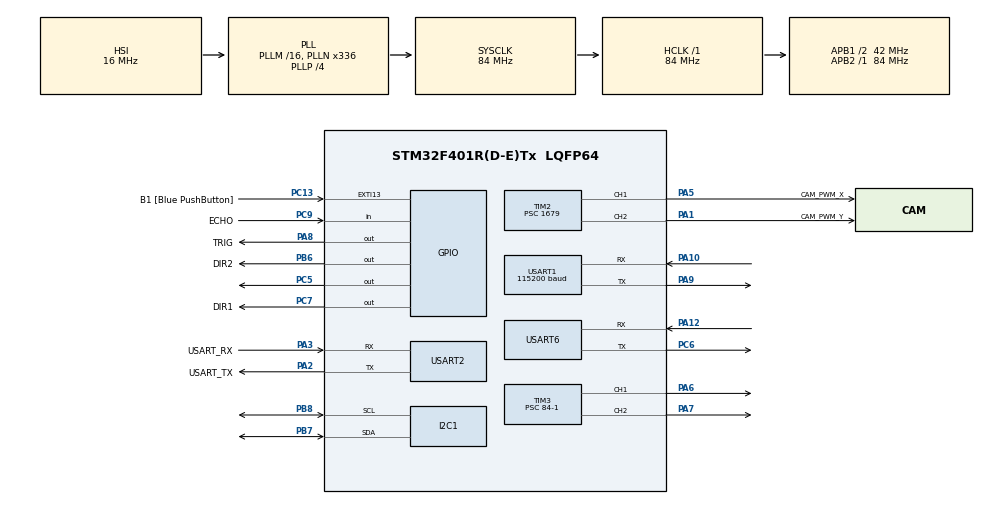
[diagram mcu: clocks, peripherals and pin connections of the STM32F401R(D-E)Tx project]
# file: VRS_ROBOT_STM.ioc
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Dma.Request0=USART2_RX
Dma.Request1=USART1_RX
Dma.Request2=USART6_RX
Dma.USART1_RX.1.Direction=DMA_PERIPH_TO_MEMORY
Dma.USART1_RX.1.FIFOMode=DMA_FIFOMODE_DISABLE
Dma.USART1_RX.1.Instance=DMA2_Stream2
Dma.USART1_RX.1.MemDataAlignment=DMA_MDATAALIGN_BYTE
Dma.USART1_RX.1.MemInc=DMA_MINC_ENABLE
Dma.USART1_RX.1.Mode=DMA_CIRCULAR
Dma.USART1_RX.1.PeriphDataAlignment=DMA_PDATAALIGN_BYTE
Dma.USART1_RX.1.PeriphInc=DMA_PINC_DISABLE
Dma.USART1_RX.1.Priority=DMA_PRIORITY_LOW
Dma.USART2_RX.0.Direction=DMA_PERIPH_TO_MEMORY
Dma.USART2_RX.0.FIFOMode=DMA_FIFOMODE_DISABLE
Dma.USART2_RX.0.Instance=DMA1_Stream5
Dma.USART2_RX.0.MemDataAlignment=DMA_MDATAALIGN_BYTE
Dma.USART2_RX.0.MemInc=DMA_MINC_ENABLE
Dma.USART2_RX.0.Mode=DMA_CIRCULAR
Dma.USART2_RX.0.PeriphDataAlignment=DMA_PDATAALIGN_BYTE
Dma.USART2_RX.0.PeriphInc=DMA_PINC_DISABLE
Dma.USART2_RX.0.Priority=DMA_PRIORITY_LOW
Dma.USART6_RX.2.Direction=DMA_PERIPH_TO_MEMORY
Dma.USART6_RX.2.FIFOMode=DMA_FIFOMODE_DISABLE
Dma.USART6_RX.2.Instance=DMA2_Stream1
Dma.USART6_RX.2.MemDataAlignment=DMA_MDATAALIGN_BYTE
Dma.USART6_RX.2.MemInc=DMA_MINC_ENABLE
Dma.USART6_RX.2.Mode=DMA_CIRCULAR
Dma.USART6_RX.2.PeriphDataAlignment=DMA_PDATAALIGN_BYTE
Dma.USART6_RX.2.PeriphInc=DMA_PINC_DISABLE
Dma.USART6_RX.2.Priority=DMA_PRIORITY_LOW
I2C1.OwnAddress=1
Mcu.Family=STM32F4
Mcu.Name=STM32F401R(D-E)Tx
Mcu.Package=LQFP64
NVIC.DMA1_Stream5_IRQn=true\:0\:0\:false\:false\:true\:false\:true\:true
NVIC.DMA2_Stream1_IRQn=true\:0\:0\:false\:false\:true\:false\:true\:true
NVIC.DMA2_Stream2_IRQn=true\:0\:0\:false\:false\:true\:false\:true\:true
NVIC.PriorityGroup=NVIC_PRIORITYGROUP_0
NVIC.USART1_IRQn=true\:0\:0\:false\:false\:true\:true\:true\:true
NVIC.USART2_IRQn=true\:0\:0\:false\:false\:true\:true\:true\:true
PA1.GPIO_Label=CAM_PWM_Y
PA1.Signal=S_TIM2_CH2
PA10.Mode=Asynchronous
PA10.Signal=USART1_RX
PA12.Mode=Asynchronous
PA12.Signal=USART6_RX
PA13.GPIO_Label=TMS
PA13.Mode=Serial_Wire
PA13.Signal=SYS_JTMS-SWDIO
PA14.GPIO_Label=TCK
PA14.Mode=Serial_Wire
PA14.Signal=SYS_JTCK-SWCLK
PA2.GPIO_Label=USART_TX
PA2.GPIO_Mode=GPIO_MODE_AF_PP
PA2.GPIO_PuPd=GPIO_NOPULL
PA2.GPIO_Speed=GPIO_SPEED_FREQ_LOW
PA2.Mode=Asynchronous
PA2.Signal=USART2_TX
PA3.GPIO_Label=USART_RX
PA3.GPIO_Mode=GPIO_MODE_AF_PP
PA3.GPIO_PuPd=GPIO_NOPULL
PA3.GPIO_Speed=GPIO_SPEED_FREQ_LOW
PA3.Mode=Asynchronous
PA3.Signal=USART2_RX
PA5.GPIO_Label=CAM_PWM_X
PA5.Signal=S_TIM2_CH1_ETR
PA6.Signal=S_TIM3_CH1
PA7.Signal=S_TIM3_CH2
PA8.GPIO_Label=TRIG
PA8.Signal=GPIO_Output
PA9.Mode=Asynchronous
PA9.Signal=USART1_TX
PB3.GPIO_Label=SWO
PB3.Signal=SYS_JTDO-SWO
PB6.GPIO_Label=DIR2
PB6.Signal=GPIO_Output
PB7.Mode=I2C
PB7.Signal=I2C1_SDA
PB8.Mode=I2C
PB8.Signal=I2C1_SCL
PC13-ANTI_TAMP.GPIO_Label=B1 [Blue PushButton]
PC13-ANTI_TAMP.GPIO_ModeDefaultEXTI=GPIO_MODE_IT_FALLING
PC13-ANTI_TAMP.GPIO_PuPd=GPIO_NOPULL
PC13-ANTI_TAMP.Signal=GPXTI13
PC14-OSC32_IN.Mode=LSE-External-Oscillator
PC14-OSC32_IN.Signal=RCC_OSC32_IN
PC15-OSC32_OUT.Mode=LSE-External-Oscillator
PC15-OSC32_OUT.Signal=RCC_OSC32_OUT
PC5.Signal=GPIO_Output
PC6.Mode=Asynchronous
PC6.Signal=USART6_TX
PC7.GPIO_Label=DIR1
PC7.Signal=GPIO_Output
PC9.GPIO_Label=ECHO
PC9.Signal=GPIO_Input
PH0\ -\ OSC_IN.Mode=HSE-External-Clock-Source
PH0\ -\ OSC_IN.Signal=RCC_OSC_IN
PH1\ -\ OSC_OUT.Mode=HSE-External-Clock-Source
PH1\ -\ OSC_OUT.Signal=RCC_OSC_OUT
ProjectManager.HeapSize=0x200
ProjectManager.StackSize=0x400
ProjectManager.TargetToolchain=STM32CubeIDE
RCC.48MHZClocksFreq_Value=48000000
RCC.AHBFreq_Value=84000000
RCC.APB1CLKDivider=RCC_HCLK_DIV2
RCC.APB1Freq_Value=42000000
RCC.APB1TimFreq_Value=84000000
RCC.APB2Freq_Value=84000000
RCC.APB2TimFreq_Value=84000000
RCC.CortexFreq_Value=84000000
RCC.HCLKFreq_Value=84000000
RCC.HSE_VALUE=8000000
RCC.HSI_VALUE=16000000
RCC.PLLN=336
RCC.PLLP=RCC_PLLP_DIV4
RCC.PLLQ=7
RCC.SYSCLKFreq_VALUE=84000000
RCC.SYSCLKSource=RCC_SYSCLKSOURCE_PLLCLK
RCC.VCOOutputFreq_Value=336000000
SH.S_TIM2_CH1_ETR.0=TIM2_CH1,PWM Generation1 CH1
SH.S_TIM2_CH2.0=TIM2_CH2,PWM Generation2 CH2
SH.S_TIM3_CH1.0=TIM3_CH1,PWM Generation1 CH1
SH.S_TIM3_CH2.0=TIM3_CH2,PWM Generation2 CH2
TIM1.Prescaler=83
TIM10.Prescaler=83
TIM2.Channel-PWM\ Generation1\ CH1=TIM_CHANNEL_1
TIM2.Channel-PWM\ Generation2\ CH2=TIM_CHANNEL_2
TIM2.OC1Preload_PWM=DISABLE
TIM2.OC2Preload_PWM=DISABLE
TIM2.Period=999
TIM2.Prescaler=1679
TIM3.Channel-PWM\ Generation1\ CH1=TIM_CHANNEL_1
TIM3.Channel-PWM\ Generation2\ CH2=TIM_CHANNEL_2
TIM3.Period=999
TIM3.Prescaler=84-1
USART1.BaudRate=115200
USART1.VirtualMode=VM_ASYNC
USART2.VirtualMode=VM_ASYNC
USART6.VirtualMode=VM_ASYNC
VP_TIM10_VS_ClockSourceINT.Mode=Enable_Timer
VP_TIM11_VS_ClockSourceINT.Mode=Enable_Timer
VP_TIM1_VS_ClockSourceINT.Mode=Internal
board=NUCLEO-F401RE

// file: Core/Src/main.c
/* USER CODE BEGIN Header */
/**
 ******************************************************************************
 * @file           : main.c
 * @brief          : Main program body
 ******************************************************************************
 * @attention
 *
 * Copyright (c) 2024 STMicroelectronics.
 * All rights reserved.
 *
 * This software is licensed under terms that can be found in the LICENSE file
 * in the root directory of this software component.
 * If no LICENSE file comes with this software, it is provided AS-IS.
 *
 ******************************************************************************
 */
/* USER CODE END Header */
#include "main.h"
#include "dma.h"
#include "i2c.h"
#include "tim.h"
#include "usart.h"
#include "gpio.h"

/* USER CODE BEGIN Includes */
#include "string.h"
#include "stdio.h"
#include "configParams.h"
#include "DHT11.h"
/* USER CODE END Includes */

/* USER CODE BEGIN PTD */
#define LIDAR_ADD 0x62<<1										// i2c slave address of lidar lite

uint32_t m_distance, object_distance; // define the variable to get distance value

char str[100];
/* USER CODE END PTD */

/* USER CODE BEGIN PV */
uint8_t buffer[13];
uint8_t bufferOut[13];
float rear_sensor = 0;

uint8_t temperature;
uint8_t humidity;

uint32_t pMillis;
uint32_t val1 = 0;
uint32_t val2 = 0;
uint16_t distance  = 0;

PWM_Control_TypeDef PWM_Control = { .L_PWM = 0, .R_PWM = 0, .L_DIR = 0, .R_DIR =0 };

Camera_Control_Typedef Camera_Control = { .X_PWM = 50, .Y_PWM = 50, .X_DIR =0, .Y_DIR = 0, .X_RELATIVE = 0, .Y_RELATIVE= 0, .X_POS = 0, .Y_POS = 0};
/* USER CODE END PV */

void SystemClock_Config(void);

int main(void)
{

  /* MCU Configuration--------------------------------------------------------*/

  /* Reset of all peripherals, Initializes the Flash interface and the Systick. */
  HAL_Init();

  /* Configure the system clock */
  SystemClock_Config();

  /* Initialize all configured peripherals */
  MX_GPIO_Init();
  MX_DMA_Init();
  MX_TIM2_Init();
  MX_USART2_UART_Init();
  MX_TIM11_Init();
  MX_I2C1_Init();
  MX_TIM3_Init();
  MX_USART1_UART_Init();
  MX_TIM10_Init();
  MX_TIM1_Init();
  MX_USART6_UART_Init();
  /* USER CODE BEGIN 2 */
  HAL_TIM_Base_Start(&htim1);
  HAL_GPIO_WritePin(TRIG_GPIO_Port, TRIG_Pin, GPIO_PIN_RESET);

	HAL_TIM_PWM_Start(&htim2, TIM_CHANNEL_2);
	HAL_TIM_PWM_Start(&htim2, TIM_CHANNEL_1);
	HAL_TIM_PWM_Start(&htim3, TIM_CHANNEL_1);
	HAL_TIM_PWM_Start(&htim3, TIM_CHANNEL_2);

	HAL_TIM_Base_Start_IT(&htim11);
	configuration_set(4);

	setCamera();

	int timerTick = 0;
	int speed = 0;
	int max_Speed = 0;
	int speed_signal = 0;
	int dir_signal = 0;

	if (HAL_UART_Receive_DMA(&huart1, buffer, 13) != HAL_OK)
		Error_Handler();
	if (HAL_UART_Receive_DMA(&huart2, buffer, 13) != HAL_OK)
		Error_Handler();

  /* USER CODE END 2 */

  /* Infinite loop */
  /* USER CODE BEGIN WHILE */
	while (1) {

		set_motors();

		if(__HAL_TIM_GET_COUNTER(&htim11) > 65000){
			timerTick++;
			__HAL_TIM_SetCounter(&htim11,0);

			if(timerTick %70 == 0 ){
				setCamera();
			}
			if(timerTick == 625){

			object_distance = Get_distance();
			sprintf(bufferOut, "L%d", object_distance);
			bufferOut[12] = '\n';
			HAL_UART_Transmit(&huart1, bufferOut, sizeof(bufferOut),HAL_MAX_DELAY);
			HAL_UART_Transmit(&huart2, bufferOut, sizeof(bufferOut),HAL_MAX_DELAY);

			DHT11_Read_Data(&temperature,&humidity);
			sprintf(bufferOut, "T%d", temperature);
			bufferOut[12] = '\n';
			HAL_UART_Transmit(&huart1, bufferOut, sizeof(bufferOut),HAL_MAX_DELAY);
			HAL_UART_Transmit(&huart2, bufferOut, sizeof(bufferOut),HAL_MAX_DELAY);

			sprintf(bufferOut, "H%d", humidity);
			bufferOut[12] = '\n';
			HAL_UART_Transmit(&huart1, bufferOut, sizeof(bufferOut),HAL_MAX_DELAY);
			HAL_UART_Transmit(&huart2, bufferOut, sizeof(bufferOut),HAL_MAX_DELAY);

			rear_sensor = Measure_Distance();
			sprintf(bufferOut, "R%.2f", rear_sensor);
			bufferOut[12] = '\n';
			HAL_UART_Transmit(&huart1, bufferOut, sizeof(bufferOut),HAL_MAX_DELAY);
			HAL_UART_Transmit(&huart2, bufferOut, sizeof(bufferOut),HAL_MAX_DELAY);
		timerTick = 0;
		}
		}
    /* USER CODE END WHILE */

	}
}

void SystemClock_Config(void)
{
  RCC_OscInitTypeDef RCC_OscInitStruct = {0};
  RCC_ClkInitTypeDef RCC_ClkInitStruct = {0};

  /** Configure the main internal regulator output voltage
  */
  __HAL_RCC_PWR_CLK_ENABLE();
  __HAL_PWR_VOLTAGESCALING_CONFIG(PWR_REGULATOR_VOLTAGE_SCALE2);

  /** Initializes the RCC Oscillators according to the specified parameters
  * in the RCC_OscInitTypeDef structure.
  */
  RCC_OscInitStruct.OscillatorType = RCC_OSCILLATORTYPE_HSI;
  RCC_OscInitStruct.HSIState = RCC_HSI_ON;
  RCC_OscInitStruct.HSICalibrationValue = RCC_HSICALIBRATION_DEFAULT;
  RCC_OscInitStruct.PLL.PLLState = RCC_PLL_ON;
  RCC_OscInitStruct.PLL.PLLSource = RCC_PLLSOURCE_HSI;
  RCC_OscInitStruct.PLL.PLLM = 16;
  RCC_OscInitStruct.PLL.PLLN = 336;
  RCC_OscInitStruct.PLL.PLLP = RCC_PLLP_DIV4;
  RCC_OscInitStruct.PLL.PLLQ = 7;
  if (HAL_RCC_OscConfig(&RCC_OscInitStruct) != HAL_OK)
  {
    Error_Handler();
  }

  /** Initializes the CPU, AHB and APB buses clocks
  */
  RCC_ClkInitStruct.ClockType = RCC_CLOCKTYPE_HCLK|RCC_CLOCKTYPE_SYSCLK
                              |RCC_CLOCKTYPE_PCLK1|RCC_CLOCKTYPE_PCLK2;
  RCC_ClkInitStruct.SYSCLKSource = RCC_SYSCLKSOURCE_PLLCLK;
  RCC_ClkInitStruct.AHBCLKDivider = RCC_SYSCLK_DIV1;
  RCC_ClkInitStruct.APB1CLKDivider = RCC_HCLK_DIV2;
  RCC_ClkInitStruct.APB2CLKDivider = RCC_HCLK_DIV1;

  if (HAL_RCC_ClockConfig(&RCC_ClkInitStruct, FLASH_LATENCY_2) != HAL_OK)
  {
    Error_Handler();
  }
}

/* USER CODE BEGIN 4 */
void parseStringAndStore(uint8_t *str, uint8_t size) {
	uint16_t temp = 0;
	if (str[0] == '1') {
		for (uint8_t i = 1; i < size; i++) {
			if (str[i] == 'R') {
				if (str[i + 1] == '+')
					PWM_Control.R_DIR = 0;
				else if (str[i + 1] == '-')
					PWM_Control.R_DIR = 1;
				temp = (str[i + 2] - '0') * 100;
				temp += (str[i + 3] - '0') * 10;
				temp += (str[i + 4] - '0');
				temp *= 10;
				if (temp <= 1000 && temp > 0)
					PWM_Control.R_PWM = temp - 1;
				else
					PWM_Control.R_PWM = 0;

				temp = 0;
			}
			if (str[i] == 'L') {
				if (str[i + 1] == '+')
					PWM_Control.L_DIR = 0;
				else if (str[i + 1] == '-')
					PWM_Control.L_DIR = 1;
				temp = (str[i + 2] - '0') * 100;
				temp += (str[i + 3] - '0') * 10;
				temp += (str[i + 4] - '0');
				temp *= 10;
				if (temp <= 1000 && temp > 0)
					PWM_Control.L_PWM = temp - 1;
				else
					PWM_Control.L_PWM = 0;
			}
		}
	} else if (str[0] == '2') {

		for (uint8_t i = 1; i < size; i++) {
			if (str[i] == 'X') {
				if (str[i + 1] == '+')
					Camera_Control.X_DIR = 1;
				else if (str[i + 1] == '-')
					Camera_Control.X_DIR = 0;
				temp = (str[i + 2] - '0') * 100;
				temp += (str[i + 3] - '0') * 10;
				temp += (str[i + 4] - '0');
//				temp/=25;
				if (temp <= 10000 && temp > 0)
					Camera_Control.X_RELATIVE = temp - 1;
				else
					Camera_Control.X_RELATIVE = 0;

				temp = 0;
			}
			if (str[i] == 'Y') {
				if (str[i + 1] == '+')
					Camera_Control.Y_DIR = 1;
				else if (str[i + 1] == '-')
					Camera_Control.Y_DIR = 0;
				temp = (str[i + 2] - '0') * 100;
				temp += (str[i + 3] - '0') * 10;
				temp += (str[i + 4] - '0');
//				temp/=25;
				if (temp <= 10000 && temp > 0)
					Camera_Control.Y_RELATIVE = temp - 1;
				else
					Camera_Control.Y_RELATIVE = 0;
			}

		}

	}
	else if(str[0] == '3') {

		sprintf(bufferOut, "%d", object_distance);
		bufferOut[12] = '\n';
		HAL_UART_Transmit(&huart1, bufferOut, sizeof(bufferOut),HAL_MAX_DELAY);
		HAL_UART_Transmit(&huart2, bufferOut, sizeof(bufferOut),HAL_MAX_DELAY);
	}
	else if(str[0] =='4'){}

}

void set_motors() {

	HAL_GPIO_WritePin(DIR1_GPIO_Port, DIR1_Pin, PWM_Control.R_DIR);
	HAL_GPIO_WritePin(DIR2_GPIO_Port, DIR2_Pin, PWM_Control.L_DIR);

	if(PWM_Control.R_PWM >DEADZONE_MOTORS)__HAL_TIM_SET_COMPARE(&htim3, TIM_CHANNEL_1, PWM_Control.R_PWM);
	else __HAL_TIM_SET_COMPARE(&htim3, TIM_CHANNEL_1, 0);
	if(PWM_Control.L_PWM > DEADZONE_MOTORS)	__HAL_TIM_SET_COMPARE(&htim3, TIM_CHANNEL_2, PWM_Control.L_PWM);
	else 	__HAL_TIM_SET_COMPARE(&htim3, TIM_CHANNEL_2, 0);
}
void hard_stop() {
//	__HAL_TIM_SET_COMPARE(&htim1, TIM_CHANNEL_1, 0);
//	__HAL_TIM_SET_COMPARE(&htim1, TIM_CHANNEL_2, 0);
//	PWM_Control.L_PWM = 0;
//	PWM_Control.R_PWM = 0;
}
void setCamera() {

	if(Camera_Control.X_DIR == 1 && Camera_Control.X_PWM < 80)__HAL_TIM_SET_COMPARE(&htim2, TIM_CHANNEL_1, Camera_Control.X_PWM += Camera_Control.X_RELATIVE);
	if(Camera_Control.X_DIR == 0 && Camera_Control.X_PWM > 20)__HAL_TIM_SET_COMPARE(&htim2, TIM_CHANNEL_1, Camera_Control.X_PWM -= Camera_Control.X_RELATIVE);

	if(Camera_Control.Y_DIR == 1 && Camera_Control.Y_PWM <80)__HAL_TIM_SET_COMPARE(&htim2, TIM_CHANNEL_2, Camera_Control.Y_PWM += Camera_Control.Y_RELATIVE );
	if(Camera_Control.Y_DIR == 0 && Camera_Control.Y_PWM > 20)__HAL_TIM_SET_COMPARE(&htim2, TIM_CHANNEL_2, Camera_Control.Y_PWM -= Camera_Control.Y_RELATIVE );
}
float Measure_Distance(void) {
	;
    // Send trigger pulse (10 us) on PA8
	  HAL_GPIO_WritePin(TRIG_GPIO_Port, TRIG_Pin, GPIO_PIN_SET);
	  __HAL_TIM_SET_COUNTER(&htim1, 0);
	   while (__HAL_TIM_GET_COUNTER (&htim1) < 10);  // wait for 10 us
	   HAL_GPIO_WritePin(TRIG_GPIO_Port, TRIG_Pin, GPIO_PIN_RESET);

	   pMillis = HAL_GetTick();
	   while (!(HAL_GPIO_ReadPin (ECHO_GPIO_Port, ECHO_Pin)) && pMillis + 10 >  HAL_GetTick());
	   val1 = __HAL_TIM_GET_COUNTER (&htim1);

	   pMillis = HAL_GetTick();
	   while ((HAL_GPIO_ReadPin (ECHO_GPIO_Port, ECHO_Pin)) && pMillis + 50 > HAL_GetTick());
	   val2 = __HAL_TIM_GET_COUNTER (&htim1);

	   distance = (val2-val1)* 0.034/2;

    return distance;
}

/* USER CODE END 4 */

void Error_Handler(void)
{
	__disable_irq();
	while (1) {
	}
}
